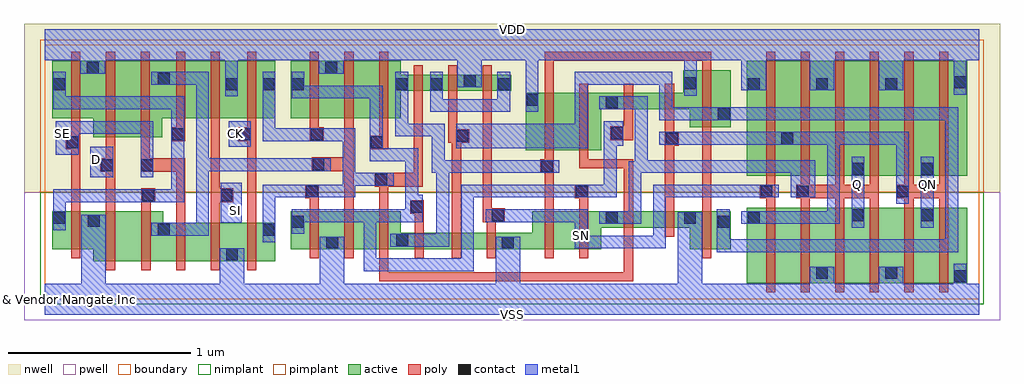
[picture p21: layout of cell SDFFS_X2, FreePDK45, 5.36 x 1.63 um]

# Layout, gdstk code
import gdstk
lib = gdstk.Library(unit=1e-6, precision=1e-10)
def R(c, l, rs):  # rectangles x0, y0, x1, y1
    for r in rs: c.add(gdstk.rectangle(r[:2], r[2:], *l))
def P(c, l, *ps):  # polygons
    for p in ps: c.add(gdstk.Polygon(p, *l))
active = (1, 0)
pwell = (2, 0)
nwell = (3, 0)
nimplant = (4, 0)
pimplant = (5, 0)
poly = (9, 0)
contact = (10, 0)
metal1 = (11, 0)
boundary = (235, 0)

sdffs_x2 = lib.new_cell('SDFFS_X2')
R(sdffs_x2, active, [(3.855,0.09,5.065,0.505), (3.855,0.68,5.065,1.31)])
P(sdffs_x2, active, [(0.265,0.21),(0.265,0.275),(0.04,0.275),(0.04,0.485),(0.65,0.485),(0.65,0.42),(1.265,0.42),(1.265,0.21)],
  [(0.265,0.89),(0.265,0.995),(0.04,0.995),(0.04,1.31),(1.265,1.31),(1.265,0.995),(0.645,0.995),(0.645,0.89)],
  [(1.35,0.995),(1.35,1.31),(1.955,1.31),(1.955,1.235),(2.56,1.235),(2.56,1.145),(1.955,1.145),(1.955,0.995)],
  [(1.35,0.275),(1.35,0.485),(1.955,0.485),(1.955,0.365),(2.675,0.365),(2.675,0.485),(3.765,0.485),(3.765,0.275),(3.54,0.275),(3.54,0.395),(3.055,0.395),(3.055,0.275)],
  [(2.64,0.82),(2.64,1.135),(3.505,1.135),(3.505,1.26),(3.765,1.26),(3.765,0.945),(3.54,0.945),(3.54,1.045),(3.055,1.045),(3.055,0.82)])
R(sdffs_x2, pwell, [(-0.115,-0.115,5.245,0.59)])
R(sdffs_x2, nwell, [(-0.115,0.59,5.245,1.515)])
R(sdffs_x2, nimplant, [(-0.025,-0.025,5.155,0.59)])
R(sdffs_x2, pimplant, [(-0.025,0.59,5.155,1.425)])
P(sdffs_x2, poly, [(0.145,0.225),(0.145,0.825),(0.115,0.825),(0.115,0.9),(0.145,0.9),(0.145,1.36),(0.195,1.36),(0.195,0.225)],
  [(0.335,0.16),(0.335,0.7),(0.305,0.7),(0.305,0.775),(0.335,0.775),(0.335,1.36),(0.385,1.36),(0.385,0.16)],
  [(0.53,0.16),(0.53,0.61),(0.605,0.61),(0.605,0.535),(0.58,0.535),(0.58,0.16)],
  [(0.72,0.16),(0.72,0.7),(0.525,0.7),(0.525,1.36),(0.575,1.36),(0.575,0.775),(0.77,0.775),(0.77,0.16)],
  [(0.695,0.87),(0.695,0.945),(0.72,0.945),(0.72,1.36),(0.77,1.36),(0.77,0.87)],
  [(0.91,0.16),(0.91,1.36),(0.96,1.36),(0.96,0.61),(1.035,0.61),(1.035,0.535),(0.96,0.535),(0.96,0.16)],
  [(1.11,0.16),(1.11,0.87),(1.06,0.87),(1.06,0.945),(1.11,0.945),(1.11,1.36),(1.16,1.36),(1.16,0.16)],
  [(1.455,0.225),(1.455,0.555),(1.43,0.555),(1.43,0.63),(1.505,0.63),(1.505,0.225)],
  [(1.455,0.87),(1.455,1.36),(1.505,1.36),(1.505,0.945),(1.53,0.945),(1.53,0.87)],
  [(1.645,0.225),(1.645,0.705),(1.465,0.705),(1.465,0.78),(1.645,0.78),(1.645,1.36),(1.695,1.36),(1.695,0.225)],
  [(1.785,0.825),(1.785,0.9),(1.835,0.9),(1.835,1.36),(1.885,1.36),(1.885,0.825)],
  [(2.03,0.225),(2.03,0.47),(2.005,0.47),(2.005,0.545),(2.08,0.545),(2.08,0.225)],
  [(2.235,0.225),(2.235,0.86),(2.215,0.86),(2.215,1.285),(2.265,1.285),(2.265,0.935),(2.33,0.935),(2.33,0.86),(2.285,0.86),(2.285,0.225)],
  [(2.425,0.225),(2.425,0.425),(2.405,0.425),(2.405,1.285),(2.455,1.285),(2.455,0.5),(2.525,0.5),(2.525,0.425),(2.475,0.425),(2.475,0.225)],
  [(2.935,0.225),(2.935,0.555),(2.91,0.555),(2.91,0.63),(2.985,0.63),(2.985,0.225)],
  [(1.835,0.1),(1.835,0.62),(1.81,0.62),(1.81,0.695),(2.025,0.695),(2.025,1.285),(2.075,1.285),(2.075,0.62),(1.885,0.62),(1.885,0.15),(3.18,0.15),(3.18,0.72),(2.935,0.72),(2.935,1.185),(2.985,1.185),(2.985,0.77),(3.23,0.77),(3.23,0.1)],
  [(3.105,0.875),(3.105,0.95),(3.18,0.95),(3.18,1.185),(3.23,1.185),(3.23,0.875)],
  [(3.405,0.345),(3.405,1.185),(3.455,1.185),(3.455,0.92),(3.48,0.92),(3.48,0.845),(3.455,0.845),(3.455,0.345)],
  [(2.745,0.225),(2.745,0.695),(2.72,0.695),(2.72,0.77),(2.745,0.77),(2.745,1.36),(3.66,1.36),(3.66,0.225),(3.61,0.225),(3.61,1.31),(2.795,1.31),(2.795,0.225)],
  [(3.96,0.04),(3.96,0.555),(3.925,0.555),(3.925,0.63),(3.96,0.63),(3.96,1.36),(4.01,1.36),(4.01,0.04)],
  [(4.15,0.04),(4.15,0.555),(4.125,0.555),(4.125,0.63),(4.15,0.63),(4.15,1.36),(4.2,1.36),(4.2,0.63),(4.34,0.63),(4.34,1.36),(4.39,1.36),(4.39,0.63),(4.53,0.63),(4.53,1.36),(4.58,1.36),(4.58,0.04),(4.53,0.04),(4.53,0.555),(4.39,0.555),(4.39,0.04),(4.34,0.04),(4.34,0.555),(4.2,0.555),(4.2,0.04)],
  [(4.72,0.04),(4.72,0.555),(4.675,0.555),(4.675,0.63),(4.72,0.63),(4.72,1.36),(4.77,1.36),(4.77,0.63),(4.91,0.63),(4.91,1.36),(4.96,1.36),(4.96,0.04),(4.91,0.04),(4.91,0.555),(4.77,0.555),(4.77,0.04)])
R(sdffs_x2, contact, [(4.995,0.095,5.06,0.16), (4.235,0.115,4.3,0.18), (4.615,0.115,4.68,0.18), (0.995,0.215,1.06,0.28), (1.545,0.28,1.61,0.345), (2.51,0.28,2.575,0.345), (1.93,0.295,1.995,0.36), (0.62,0.35,0.685,0.415), (1.195,0.35,1.26,0.415), (1.355,0.395,1.42,0.46), (3.695,0.395,3.76,0.46), (0.235,0.4,0.3,0.465), (0.045,0.415,0.11,0.48), (3.08,0.415,3.145,0.48), (3.51,0.415,3.575,0.48), (3.86,0.415,3.925,0.48), (2.455,0.43,2.52,0.495), (4.43,0.43,4.495,0.495), (4.81,0.43,4.875,0.495), (2.01,0.475,2.075,0.54), (0.535,0.54,0.6,0.605), (0.965,0.54,1.03,0.605), (1.435,0.56,1.5,0.625), (2.915,0.56,2.98,0.625), (3.93,0.56,3.995,0.625), (4.13,0.56,4.195,0.625), (4.68,0.56,4.745,0.625), (1.815,0.625,1.88,0.69), (4.43,0.685,4.495,0.75), (4.81,0.685,4.875,0.75), (2.725,0.7,2.79,0.765), (0.31,0.705,0.375,0.77), (0.53,0.705,0.595,0.77), (1.47,0.71,1.535,0.775), (0.12,0.83,0.185,0.895), (1.79,0.83,1.855,0.895), (3.41,0.85,3.475,0.915), (4.045,0.85,4.11,0.915), (2.26,0.865,2.325,0.93), (0.7,0.875,0.765,0.94), (1.065,0.875,1.13,0.94), (1.46,0.875,1.525,0.94), (3.11,0.88,3.175,0.945), (3.695,0.985,3.76,1.05), (3.08,1.05,3.145,1.115), (2.645,1.065,2.71,1.13), (0.045,1.15,0.11,1.215), (0.995,1.15,1.06,1.215), (1.195,1.15,1.26,1.215), (1.355,1.15,1.42,1.215), (1.925,1.15,1.99,1.215), (2.115,1.15,2.18,1.215), (2.49,1.15,2.555,1.215), (3.86,1.15,3.925,1.215), (4.235,1.15,4.3,1.215), (4.615,1.15,4.68,1.215), (3.51,1.155,3.575,1.22), (4.995,1.16,5.06,1.225), (2.3,1.165,2.365,1.23), (0.62,1.18,0.685,1.245), (0.23,1.24,0.295,1.305), (1.54,1.24,1.605,1.305)])
R(sdffs_x2, metal1, [(4.43,0.395,4.5,0.785), (4.81,0.395,4.88,0.785), (0.965,0.42,1.08,0.64), (0.25,0.67,0.375,0.84), (1.01,0.84,1.13,0.98)])
P(sdffs_x2, metal1, [(0.525,0.67),(0.525,0.91),(0.185,0.91),(0.185,0.795),(0.06,0.795),(0.06,0.98),(0.595,0.98),(0.595,0.67)],
  [(0.045,0.38),(0.045,0.605),(0.695,0.605),(0.695,1.045),(0.045,1.045),(0.045,1.25),(0.115,1.25),(0.115,1.115),(0.765,1.115),(0.765,0.535),(0.115,0.535),(0.115,0.38)],
  [(0.585,0.35),(0.585,0.42),(0.83,0.42),(0.83,1.18),(0.585,1.18),(0.585,1.25),(0.9,1.25),(0.9,0.775),(1.57,0.775),(1.57,0.705),(0.9,0.705),(0.9,0.35)],
  [(1.195,0.315),(1.195,0.63),(1.635,0.63),(1.635,0.87),(1.195,0.87),(1.195,1.25),(1.265,1.25),(1.265,0.94),(1.705,0.94),(1.705,0.695),(1.915,0.695),(1.915,0.625),(1.705,0.625),(1.705,0.56),(1.265,0.56),(1.265,0.315)],
  [(2.115,1.03),(2.115,1.25),(2.185,1.25),(2.185,1.1),(2.485,1.1),(2.485,1.25),(2.555,1.25),(2.555,1.03)],
  [(1.895,0.29),(1.895,0.36),(2.15,0.36),(2.15,0.695),(2.125,0.695),(2.125,0.895),(1.925,0.895),(1.925,1.25),(1.995,1.25),(1.995,0.965),(2.195,0.965),(2.195,0.765),(2.825,0.765),(2.825,0.695),(2.22,0.695),(2.22,0.29)],
  [(1.75,0.155),(1.75,0.425),(1.425,0.425),(1.425,0.36),(1.355,0.36),(1.355,0.495),(1.98,0.495),(1.98,0.76),(1.785,0.76),(1.785,1.105),(1.355,1.105),(1.355,1.25),(1.425,1.25),(1.425,1.175),(1.855,1.175),(1.855,0.83),(2.05,0.83),(2.05,0.575),(2.075,0.575),(2.075,0.425),(1.82,0.425),(1.82,0.225),(2.285,0.225),(2.285,0.63),(3.07,0.63),(3.07,0.98),(3.175,0.98),(3.175,0.845),(3.14,0.845),(3.14,0.56),(2.355,0.56),(2.355,0.155)],
  [(2.91,0.28),(2.91,0.425),(2.42,0.425),(2.42,0.495),(2.98,0.495),(2.98,0.35),(3.34,0.35),(3.34,0.63),(4.03,0.63),(4.03,0.56),(3.41,0.56),(3.41,0.28)],
  [(3.045,0.415),(3.045,0.485),(3.205,0.485),(3.205,0.76),(3.24,0.76),(3.24,1.045),(3.045,1.045),(3.045,1.115),(3.31,1.115),(3.31,0.765),(4.23,0.765),(4.23,0.56),(4.095,0.56),(4.095,0.695),(3.275,0.695),(3.275,0.415)],
  [(3.825,0.415),(3.825,0.485),(4.295,0.485),(4.295,0.85),(3.375,0.85),(3.375,0.92),(4.745,0.92),(4.745,0.525),(4.675,0.525),(4.675,0.85),(4.365,0.85),(4.365,0.415)],
  [(3.69,0.26),(3.69,0.495),(3.76,0.495),(3.76,0.33),(4.945,0.33),(4.945,0.985),(3.375,0.985),(3.375,1.18),(2.98,1.18),(2.98,0.83),(2.26,0.83),(2.26,0.965),(2.91,0.965),(2.91,1.25),(3.445,1.25),(3.445,1.055),(5.015,1.055),(5.015,0.26)],
  [(0,-0.085),(0,0.085),(0.2,0.085),(0.2,0.465),(0.335,0.465),(0.335,0.085),(0.96,0.085),(0.96,0.28),(1.095,0.28),(1.095,0.085),(1.51,0.085),(1.51,0.345),(1.645,0.345),(1.645,0.085),(2.475,0.085),(2.475,0.345),(2.61,0.345),(2.61,0.085),(3.475,0.085),(3.475,0.48),(3.61,0.48),(3.61,0.085),(4.2,0.085),(4.2,0.18),(4.335,0.18),(4.335,0.085),(4.58,0.085),(4.58,0.18),(4.715,0.18),(4.715,0.085),(4.99,0.085),(4.99,0.195),(5.06,0.195),(5.06,0.085),(5.13,0.085),(5.13,-0.085)],
  [(2.64,1.03),(2.64,1.315),(2.4,1.315),(2.4,1.165),(2.265,1.165),(2.265,1.315),(1.64,1.315),(1.64,1.24),(1.505,1.24),(1.505,1.315),(1.06,1.315),(1.06,1.115),(0.99,1.115),(0.99,1.315),(0.33,1.315),(0.33,1.24),(0.195,1.24),(0.195,1.315),(0,1.315),(0,1.485),(5.13,1.485),(5.13,1.315),(5.06,1.315),(5.06,1.125),(4.99,1.125),(4.99,1.315),(4.715,1.315),(4.715,1.15),(4.58,1.15),(4.58,1.315),(4.335,1.315),(4.335,1.15),(4.2,1.15),(4.2,1.315),(3.96,1.315),(3.96,1.15),(3.825,1.15),(3.825,1.315),(3.58,1.315),(3.58,1.12),(3.51,1.12),(3.51,1.315),(2.71,1.315),(2.71,1.03)])
R(sdffs_x2, boundary, [(0,0,5.13,1.4)])
sdffs_x2.add(gdstk.Label('CK', (1.045,0.91), layer=11, texttype=0))
sdffs_x2.add(gdstk.Label('D', (0.285,0.77), layer=11, texttype=0))
sdffs_x2.add(gdstk.Label('Q', (4.465,0.63), layer=11, texttype=0))
sdffs_x2.add(gdstk.Label('QN', (4.845,0.63), layer=11, texttype=0))
sdffs_x2.add(gdstk.Label('SE', (0.095,0.91), layer=11, texttype=0))
sdffs_x2.add(gdstk.Label('SI', (1.045,0.49), layer=11, texttype=0))
sdffs_x2.add(gdstk.Label('SN', (2.945,0.35), layer=11, texttype=0))
sdffs_x2.add(gdstk.Label('VDD', (2.565,1.485), layer=11, texttype=0))
sdffs_x2.add(gdstk.Label('VSS', (2.565,-0.085), layer=11, texttype=0))
sdffs_x2.add(gdstk.Label('& Vendor Nangate Inc', (0,0), layer=63, texttype=63))
sdffs_x2.add(gdstk.Label('& Product Open Cell Library', (0,0), layer=63, texttype=63))
sdffs_x2.add(gdstk.Label('& Version 2010_12', (0,0), layer=63, texttype=63))
sdffs_x2.add(gdstk.Label('& Instance SDFFS_X2', (0,0), layer=63, texttype=63))

lib.write_gds('SDFFS_X2.gds')
